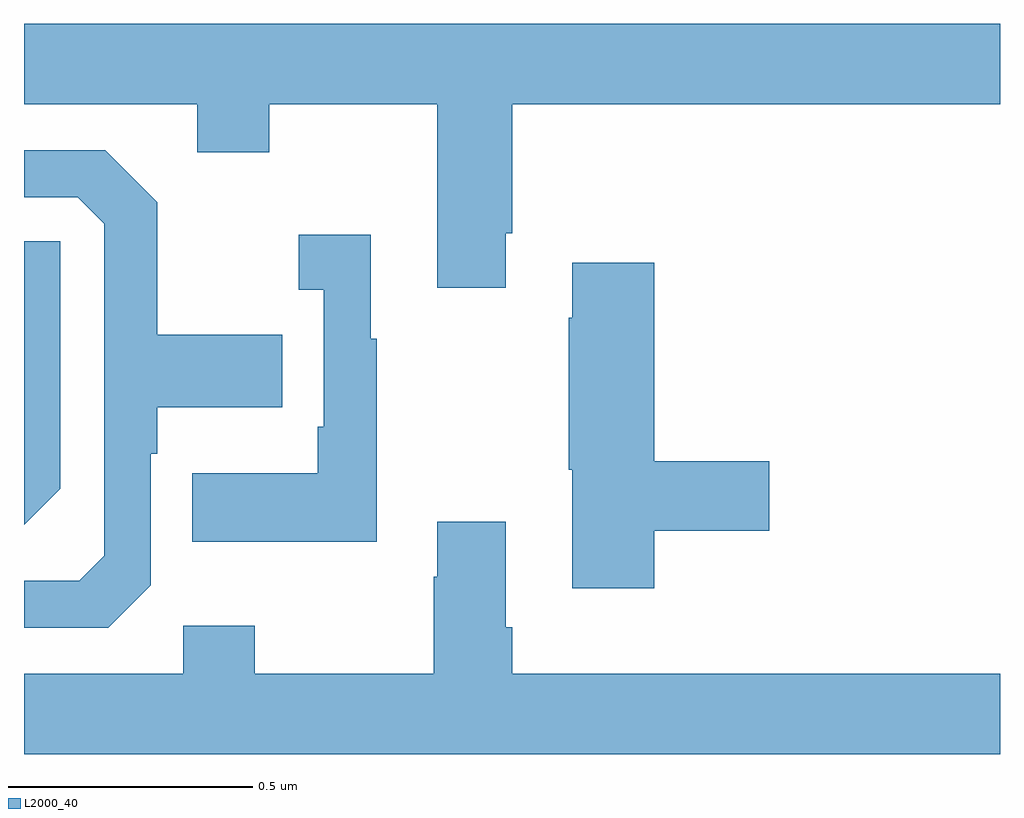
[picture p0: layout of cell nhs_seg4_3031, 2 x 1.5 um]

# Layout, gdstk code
import gdstk
lib = gdstk.Library(unit=1e-6, precision=1e-09)
def P(c, l, *ps):  # polygons
    for p in ps: c.add(gdstk.Polygon(p, *l))
L2000_40 = (2000, 40)

nhs_seg4_3031 = lib.new_cell('nhs_seg4_3031')
P(nhs_seg4_3031, L2000_40, [(148.987,783.235),(149,783.235),(149,783.5),(150,783.5),(150,783.664),(148,783.664),(148,783.5),(148.355,783.5),(148.355,783.401),(148.503,783.401),(148.503,783.5),(148.847,783.5),(148.847,783.123),(148.987,783.123)],
  [(148.26,782.514),(148.26,782.783),(148.273,782.783),(148.273,782.879),(148.529,782.879),(148.529,783.027),(148.273,783.027),(148.273,783.299),(148.167,783.405),(148,783.405),(148,783.309),(148.11,783.309),(148.164,783.255),(148.164,782.574),(148.113,782.523),(148,782.523),(148,782.427),(148.173,782.427)],
  [(148.723,783.019),(148.711,783.019),(148.711,783.232),(148.563,783.232),(148.563,783.119),(148.614,783.119),(148.614,782.839),(148.602,782.839),(148.602,782.743),(148.345,782.743),(148.345,782.603),(148.723,782.603)],
  [(148.074,782.712),(148.074,783.219),(148,783.219),(148,782.638)],
  [(149.291,782.626),(149.527,782.626),(149.527,782.768),(149.291,782.768),(149.291,783.175),(149.123,783.175),(149.123,783.062),(149.116,783.062),(149.116,782.751),(149.123,782.751),(149.123,782.508),(149.291,782.508)],
  [(150,782.332),(149,782.332),(149,782.428),(148.987,782.428),(148.987,782.644),(148.847,782.644),(148.847,782.531),(148.84,782.531),(148.84,782.332),(148.473,782.332),(148.473,782.431),(148.326,782.431),(148.326,782.332),(148,782.332),(148,782.168),(150,782.168)])

lib.write_gds('nhs_seg4_3031.gds')
